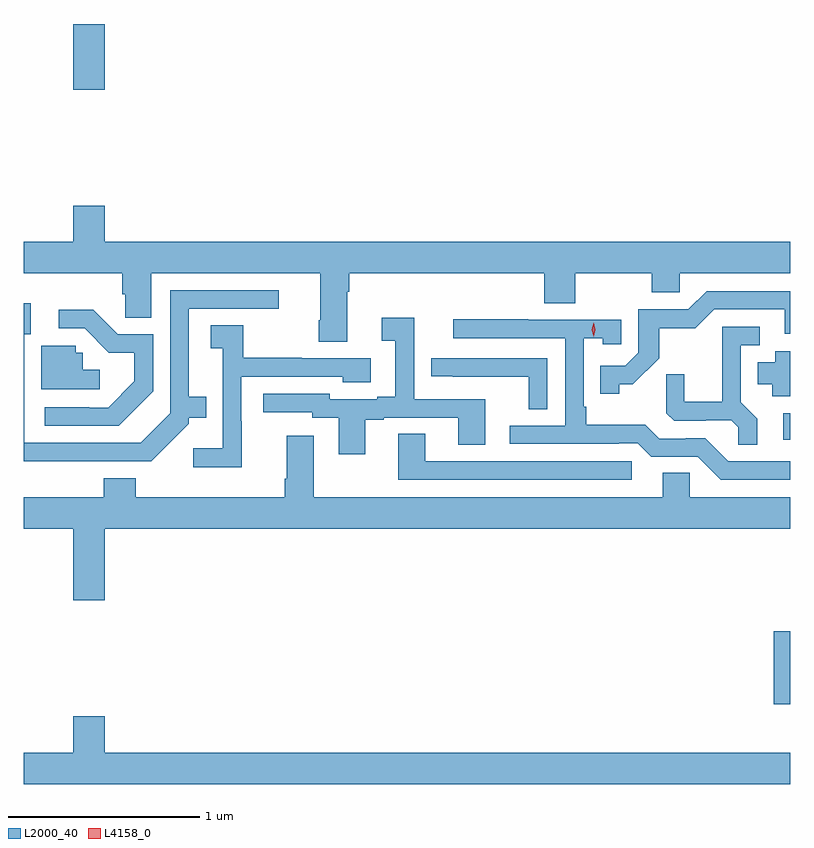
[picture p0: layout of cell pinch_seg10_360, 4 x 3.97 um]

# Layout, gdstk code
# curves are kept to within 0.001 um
import gdstk
lib = gdstk.Library(unit=1e-6, precision=1e-09)
def R(c, l, rs):  # rectangles x0, y0, x1, y1
    for r in rs: c.add(gdstk.rectangle(r[:2], r[2:], *l))
def P(c, l, *ps):  # polygons
    for p in ps: c.add(gdstk.Polygon(p, *l))
L2000_40 = (2000, 40)
L4158_0 = (4158, 0)

pinch_seg10_360 = lib.new_cell('pinch_seg10_360')
R(pinch_seg10_360, L2000_40, [(540.29,1256.775,540.376,1257.156), (540.339,1258.157,540.376,1258.293), (536.636,1259.982,536.8,1260.325)])
P(pinch_seg10_360, L2000_40, [(538.063,1258.928),(538.076,1258.928),(538.076,1259.024),(539.093,1259.024),(539.093,1258.867),(539.253,1258.867),(539.253,1259.024),(539.653,1259.024),(539.653,1258.926),(539.799,1258.926),(539.799,1259.024),(540.376,1259.024),(540.376,1259.188),(536.8,1259.188),(536.8,1259.377),(536.636,1259.377),(536.636,1259.188),(536.376,1259.188),(536.376,1259.024),(536.891,1259.024),(536.891,1258.914),(536.905,1258.914),(536.905,1258.792),(537.043,1258.792),(537.043,1259.024),(537.923,1259.024),(537.923,1258.78),(537.916,1258.78),(537.916,1258.668),(538.063,1258.668)],
  [(536.711,1258.044),(537.042,1258.044),(537.237,1258.239),(537.237,1258.271),(537.329,1258.271),(537.329,1258.381),(537.238,1258.381),(537.238,1258.839),(537.706,1258.839),(537.706,1258.935),(537.141,1258.935),(537.141,1258.293),(536.988,1258.14),(536.379,1258.14),(536.379,1258.706),(536.413,1258.706),(536.413,1258.867),(536.376,1258.867),(536.376,1258.043)],
  [(539.484,1258.445),(539.554,1258.445),(539.692,1258.582),(539.692,1258.738),(539.881,1258.738),(539.979,1258.836),(540.347,1258.836),(540.347,1258.71),(540.376,1258.71),(540.376,1258.932),(539.94,1258.932),(539.844,1258.836),(539.583,1258.836),(539.583,1258.611),(539.514,1258.542),(539.383,1258.542),(539.383,1258.395),(539.484,1258.395)],
  [(537.051,1258.409),(537.051,1258.707),(536.868,1258.707),(536.74,1258.835),(536.559,1258.835),(536.559,1258.737),(536.694,1258.737),(536.821,1258.61),(536.954,1258.61),(536.954,1258.46),(536.817,1258.323),(536.717,1258.323),(536.717,1258.326),(536.487,1258.326),(536.487,1258.23),(536.872,1258.23)],
  [(538.159,1258.26),(538.255,1258.26),(538.255,1258.272),(538.643,1258.272),(538.643,1258.129),(538.783,1258.129),(538.783,1258.368),(538.413,1258.368),(538.413,1258.792),(538.245,1258.792),(538.245,1258.672),(538.316,1258.672),(538.316,1258.381),(538.22,1258.381),(538.22,1258.368),(537.972,1258.368),(537.972,1258.395),(537.627,1258.395),(537.627,1258.299),(537.882,1258.299),(537.882,1258.272),(538.019,1258.272),(538.019,1258.08),(538.159,1258.08)],
  [(540.376,1258.044),(540.051,1258.044),(539.931,1258.164),(539.83,1258.164),(539.83,1258.161),(539.691,1258.161),(539.618,1258.234),(539.311,1258.234),(539.311,1258.327),(539.298,1258.327),(539.298,1258.685),(539.397,1258.685),(539.397,1258.653),(539.493,1258.653),(539.493,1258.782),(539.009,1258.782),(539.009,1258.785),(538.617,1258.785),(538.617,1258.686),(539.202,1258.686),(539.202,1258.23),(538.911,1258.23),(538.911,1258.134),(539.48,1258.134),(539.48,1258.137),(539.58,1258.137),(539.649,1258.068),(539.892,1258.068),(540.012,1257.948),(540.376,1257.948)],
  [(537.513,1258.253),(537.51,1258.253),(537.51,1258.485),(538.041,1258.485),(538.041,1258.457),(538.186,1258.457),(538.186,1258.581),(537.827,1258.581),(537.827,1258.584),(537.523,1258.584),(537.523,1258.754),(537.351,1258.754),(537.351,1258.633),(537.414,1258.633),(537.414,1258.111),(537.261,1258.111),(537.261,1258.013),(537.513,1258.013)],
  [(540.203,1258.265),(540.117,1258.351),(540.117,1258.65),(540.217,1258.65),(540.217,1258.746),(540.02,1258.746),(540.02,1258.354),(539.822,1258.354),(539.822,1258.497),(539.728,1258.497),(539.728,1258.295),(539.769,1258.254),(539.934,1258.254),(539.934,1258.257),(540.068,1258.257),(540.105,1258.22),(540.105,1258.129),(540.203,1258.129)],
  [(536.773,1258.522),(536.685,1258.522),(536.685,1258.611),(536.649,1258.611),(536.649,1258.647),(536.468,1258.647),(536.468,1258.419),(536.773,1258.419)],
  [(540.376,1258.618),(540.296,1258.618),(540.296,1258.561),(540.206,1258.561),(540.206,1258.445),(540.281,1258.445),(540.281,1258.382),(540.376,1258.382)],
  [(539.109,1258.581),(538.503,1258.581),(538.503,1258.486),(538.615,1258.486),(538.615,1258.485),(539.011,1258.485),(539.011,1258.315),(539.109,1258.315)],
  [(539.548,1258.044),(538.471,1258.044),(538.471,1258.187),(538.331,1258.187),(538.331,1257.948),(539.548,1257.948)],
  [(536.8,1257.692),(540.376,1257.692),(540.376,1257.856),(539.85,1257.856),(539.85,1257.983),(539.711,1257.983),(539.711,1257.856),(537.889,1257.856),(537.889,1258.177),(537.749,1258.177),(537.749,1257.952),(537.737,1257.952),(537.737,1257.856),(536.96,1257.856),(536.96,1257.955),(536.795,1257.955),(536.795,1257.856),(536.376,1257.856),(536.376,1257.692),(536.636,1257.692),(536.636,1257.318),(536.8,1257.318)],
  [(540.376,1256.524),(536.8,1256.524),(536.8,1256.713),(536.636,1256.713),(536.636,1256.524),(536.376,1256.524),(536.376,1256.36),(540.376,1256.36)])
P(pinch_seg10_360, L4158_0, [(539.349,1258.694),(539.349,1258.695),(539.339,1258.731),(539.349,1258.767),(539.349,1258.767),(539.349,1258.767),(539.359,1258.731),(539.349,1258.695)])

lib.write_gds('pinch_seg10_360.gds')
